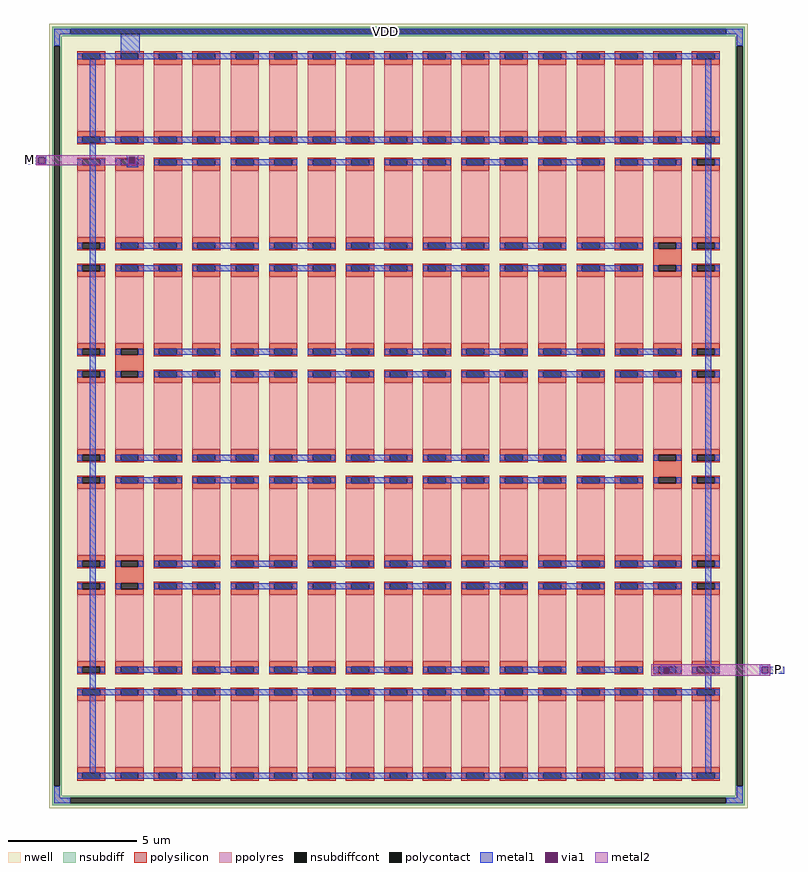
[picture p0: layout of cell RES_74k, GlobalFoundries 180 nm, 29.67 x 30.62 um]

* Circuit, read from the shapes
.subckt RES_74k M P VDD
XR1 VDD VDD VSUBS ppolyf_u r_width=1.1u r_length=2.6u m=44
XR2 n1 n2 VSUBS ppolyf_u r_width=1.1u r_length=2.6u
XR3 n3 n1 VSUBS ppolyf_u r_width=1.1u r_length=2.6u
XR4 n4 n5 VSUBS ppolyf_u r_width=1.1u r_length=2.6u
XR5 n6 n4 VSUBS ppolyf_u r_width=1.1u r_length=2.6u
XR6 M n7 VSUBS ppolyf_u r_width=1.1u r_length=2.6u
XR7 n8 n2 VSUBS ppolyf_u r_width=1.1u r_length=2.6u
XR8 n3 n9 VSUBS ppolyf_u r_width=1.1u r_length=2.6u
XR9 n10 n5 VSUBS ppolyf_u r_width=1.1u r_length=2.6u
XR10 n6 n11 VSUBS ppolyf_u r_width=1.1u r_length=2.6u
XR11 n12 n7 VSUBS ppolyf_u r_width=1.1u r_length=2.6u
XR12 n8 n13 VSUBS ppolyf_u r_width=1.1u r_length=2.6u
XR13 n14 n9 VSUBS ppolyf_u r_width=1.1u r_length=2.6u
XR14 n10 n15 VSUBS ppolyf_u r_width=1.1u r_length=2.6u
XR15 n16 n11 VSUBS ppolyf_u r_width=1.1u r_length=2.6u
XR16 n12 n17 VSUBS ppolyf_u r_width=1.1u r_length=2.6u
XR17 n18 n13 VSUBS ppolyf_u r_width=1.1u r_length=2.6u
XR18 n14 n19 VSUBS ppolyf_u r_width=1.1u r_length=2.6u
XR19 n20 n15 VSUBS ppolyf_u r_width=1.1u r_length=2.6u
XR20 n16 n21 VSUBS ppolyf_u r_width=1.1u r_length=2.6u
XR21 n22 n17 VSUBS ppolyf_u r_width=1.1u r_length=2.6u
XR22 n18 n23 VSUBS ppolyf_u r_width=1.1u r_length=2.6u
XR23 n24 n19 VSUBS ppolyf_u r_width=1.1u r_length=2.6u
XR24 n20 n25 VSUBS ppolyf_u r_width=1.1u r_length=2.6u
XR25 n26 n21 VSUBS ppolyf_u r_width=1.1u r_length=2.6u
XR26 n22 n27 VSUBS ppolyf_u r_width=1.1u r_length=2.6u
XR27 n28 n23 VSUBS ppolyf_u r_width=1.1u r_length=2.6u
XR28 n24 n29 VSUBS ppolyf_u r_width=1.1u r_length=2.6u
XR29 n30 n25 VSUBS ppolyf_u r_width=1.1u r_length=2.6u
XR30 n26 n31 VSUBS ppolyf_u r_width=1.1u r_length=2.6u
XR31 n32 n27 VSUBS ppolyf_u r_width=1.1u r_length=2.6u
XR32 n28 n33 VSUBS ppolyf_u r_width=1.1u r_length=2.6u
XR33 n34 n29 VSUBS ppolyf_u r_width=1.1u r_length=2.6u
XR34 n30 n35 VSUBS ppolyf_u r_width=1.1u r_length=2.6u
XR35 n36 n31 VSUBS ppolyf_u r_width=1.1u r_length=2.6u
XR36 n32 n37 VSUBS ppolyf_u r_width=1.1u r_length=2.6u
XR37 n38 n33 VSUBS ppolyf_u r_width=1.1u r_length=2.6u
XR38 n34 n39 VSUBS ppolyf_u r_width=1.1u r_length=2.6u
XR39 n40 n35 VSUBS ppolyf_u r_width=1.1u r_length=2.6u
XR40 n36 n41 VSUBS ppolyf_u r_width=1.1u r_length=2.6u
XR41 n42 n37 VSUBS ppolyf_u r_width=1.1u r_length=2.6u
XR42 n38 n43 VSUBS ppolyf_u r_width=1.1u r_length=2.6u
XR43 n44 n39 VSUBS ppolyf_u r_width=1.1u r_length=2.6u
XR44 n40 n45 VSUBS ppolyf_u r_width=1.1u r_length=2.6u
XR45 n46 n41 VSUBS ppolyf_u r_width=1.1u r_length=2.6u
XR46 n42 n47 VSUBS ppolyf_u r_width=1.1u r_length=2.6u
XR47 n48 n43 VSUBS ppolyf_u r_width=1.1u r_length=2.6u
XR48 n44 n49 VSUBS ppolyf_u r_width=1.1u r_length=2.6u
XR49 n50 n45 VSUBS ppolyf_u r_width=1.1u r_length=2.6u
XR50 n46 n51 VSUBS ppolyf_u r_width=1.1u r_length=2.6u
XR51 n52 n47 VSUBS ppolyf_u r_width=1.1u r_length=2.6u
XR52 n48 n53 VSUBS ppolyf_u r_width=1.1u r_length=2.6u
XR53 n54 n49 VSUBS ppolyf_u r_width=1.1u r_length=2.6u
XR54 n50 n55 VSUBS ppolyf_u r_width=1.1u r_length=2.6u
XR55 n56 n51 VSUBS ppolyf_u r_width=1.1u r_length=2.6u
XR56 n52 n57 VSUBS ppolyf_u r_width=1.1u r_length=2.6u
XR57 n58 n53 VSUBS ppolyf_u r_width=1.1u r_length=2.6u
XR58 n54 n59 VSUBS ppolyf_u r_width=1.1u r_length=2.6u
XR59 n60 n55 VSUBS ppolyf_u r_width=1.1u r_length=2.6u
XR60 n56 n61 VSUBS ppolyf_u r_width=1.1u r_length=2.6u
XR61 n62 n57 VSUBS ppolyf_u r_width=1.1u r_length=2.6u
XR62 n58 n63 VSUBS ppolyf_u r_width=1.1u r_length=2.6u
XR63 n64 n59 VSUBS ppolyf_u r_width=1.1u r_length=2.6u
XR64 n60 n65 VSUBS ppolyf_u r_width=1.1u r_length=2.6u
XR65 n66 n61 VSUBS ppolyf_u r_width=1.1u r_length=2.6u
XR66 n62 n67 VSUBS ppolyf_u r_width=1.1u r_length=2.6u
XR67 n68 n63 VSUBS ppolyf_u r_width=1.1u r_length=2.6u
XR68 n64 n69 VSUBS ppolyf_u r_width=1.1u r_length=2.6u
XR69 n70 n65 VSUBS ppolyf_u r_width=1.1u r_length=2.6u
XR70 n66 n71 VSUBS ppolyf_u r_width=1.1u r_length=2.6u
XR71 n72 n67 VSUBS ppolyf_u r_width=1.1u r_length=2.6u
XR72 n68 P VSUBS ppolyf_u r_width=1.1u r_length=2.6u
XR73 n73 n69 VSUBS ppolyf_u r_width=1.1u r_length=2.6u
XR74 n70 n73 VSUBS ppolyf_u r_width=1.1u r_length=2.6u
XR75 n74 n71 VSUBS ppolyf_u r_width=1.1u r_length=2.6u
XR76 n72 n74 VSUBS ppolyf_u r_width=1.1u r_length=2.6u
.ends

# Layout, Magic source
magic
tech gf180mcuD
magscale 1 10
<< polysilicon >>
rect 8586 3098 8806 3202
rect 4386 2270 4606 2374
rect 8586 1442 8806 1546
rect 4386 614 4606 718
<< metal1 >>
rect 4010 4887 9182 4933
rect 4427 4741 4574 4887
rect 4088 4695 9104 4741
rect 4184 4089 4233 4695
rect 8990 4089 9039 4695
rect 4088 4043 9104 4089
rect 3766 3930 3845 3944
rect 3766 3926 3782 3930
rect 3672 3878 3782 3926
rect 3834 3878 3845 3930
rect 3672 3873 3845 3878
rect 3766 3865 3845 3873
rect 4184 -227 4233 4043
rect 4475 3930 4565 3944
rect 4475 3878 4490 3930
rect 4542 3878 4565 3930
rect 4475 3851 4565 3878
rect 4688 3867 5204 3913
rect 5288 3867 5804 3913
rect 5888 3867 6404 3913
rect 6488 3867 7004 3913
rect 7088 3867 7604 3913
rect 7688 3867 8204 3913
rect 8288 3867 8804 3913
rect 4388 3215 4904 3261
rect 4988 3215 5504 3261
rect 5588 3215 6104 3261
rect 6188 3215 6704 3261
rect 6788 3215 7304 3261
rect 7388 3215 7904 3261
rect 7988 3215 8504 3261
rect 4388 3039 4904 3085
rect 4988 3039 5504 3085
rect 5588 3039 6104 3085
rect 6188 3039 6704 3085
rect 6788 3039 7304 3085
rect 7388 3039 7904 3085
rect 7988 3039 8504 3085
rect 4688 2387 5204 2433
rect 5288 2387 5804 2433
rect 5888 2387 6404 2433
rect 6488 2387 7004 2433
rect 7088 2387 7604 2433
rect 7688 2387 8204 2433
rect 8288 2387 8804 2433
rect 4688 2211 5204 2257
rect 5288 2211 5804 2257
rect 5888 2211 6404 2257
rect 6488 2211 7004 2257
rect 7088 2211 7604 2257
rect 7688 2211 8204 2257
rect 8288 2211 8804 2257
rect 4388 1559 4904 1605
rect 4988 1559 5504 1605
rect 5588 1559 6104 1605
rect 6188 1559 6704 1605
rect 6788 1559 7304 1605
rect 7388 1559 7904 1605
rect 7988 1559 8504 1605
rect 4388 1383 4904 1429
rect 4988 1383 5504 1429
rect 5588 1383 6104 1429
rect 6188 1383 6704 1429
rect 6788 1383 7304 1429
rect 7388 1383 7904 1429
rect 7988 1383 8504 1429
rect 4688 731 5204 777
rect 5288 731 5804 777
rect 5888 731 6404 777
rect 6488 731 7004 777
rect 7088 731 7604 777
rect 7688 731 8204 777
rect 8288 731 8804 777
rect 4688 555 5204 601
rect 5288 555 5804 601
rect 5888 555 6404 601
rect 6488 555 7004 601
rect 7088 555 7604 601
rect 7688 555 8204 601
rect 8288 555 8804 601
rect 4388 -97 4904 -51
rect 4988 -97 5504 -51
rect 5588 -97 6104 -51
rect 6188 -97 6704 -51
rect 6788 -97 7304 -51
rect 7388 -97 7904 -51
rect 7988 -97 8504 -51
rect 8645 -52 8753 -33
rect 8645 -104 8663 -52
rect 8715 -104 8753 -52
rect 8645 -120 8753 -104
rect 8990 -227 9039 4043
rect 9417 -50 9499 -31
rect 9417 -102 9432 -50
rect 9484 -102 9606 -50
rect 9417 -104 9606 -102
rect 9417 -120 9499 -104
rect 4088 -273 9104 -227
rect 4184 -879 4233 -273
rect 8990 -879 9039 -273
rect 4088 -925 9104 -879
<< via1 >>
rect 3782 3878 3834 3930
rect 4490 3878 4542 3930
rect 8663 -104 8715 -52
rect 9432 -102 9484 -50
<< metal2 >>
rect 3766 3930 4610 3944
rect 3766 3878 3782 3930
rect 3834 3878 4490 3930
rect 4542 3878 4610 3930
rect 3766 3865 4610 3878
rect 8571 -31 9482 -30
rect 8571 -50 9499 -31
rect 8571 -52 9432 -50
rect 8571 -104 8663 -52
rect 8715 -102 9432 -52
rect 9484 -102 9499 -50
rect 8715 -104 9499 -102
rect 8571 -120 9499 -104
rect 8571 -121 9482 -120
use ppolyf_u_DTYK2C  ppolyf_u_DTYK2C_0
transform 1 0 6596 0 1 1908
box -2726 -3062 2726 3062
<< labels >>
flabel metal1 s 3714 3911 3714 3911 0 FreeSans 2500 0 0 0 M
port 1 nsew
flabel metal1 s 9563 -72 9563 -72 0 FreeSans 2500 0 0 0 P
port 2 nsew
flabel metal1 s 6495 4911 6495 4911 0 FreeSans 2500 0 0 0 VDD
port 3 nsew
<< end >>

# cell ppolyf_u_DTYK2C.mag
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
